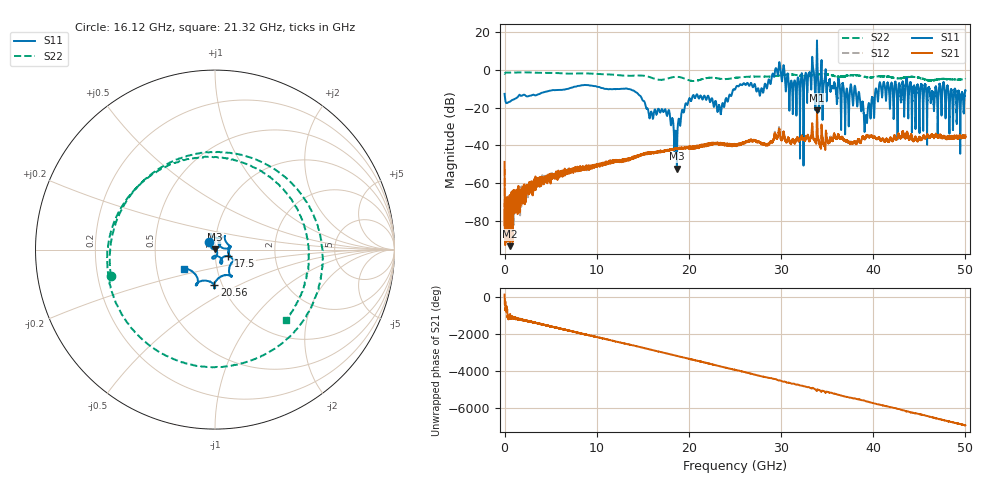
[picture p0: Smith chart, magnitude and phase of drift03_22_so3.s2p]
!Created with skrf (http://scikit-rf.org).
# Hz S RI R 50.0
!freq ReS11 ImS11 ReS21 ImS21 ReS12 ImS12 ReS22 ImS22
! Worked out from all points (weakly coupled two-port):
!   10001 points, 300 kHz to 50 GHz, reference 50 ohm
!   highest |S21| = -21.51 dB at 33.9 GHz (marker M1); lowest = -93.3 dB at 595.3 MHz (marker M2)
!   lowest |S11| = -52.3 dB at 18.7 GHz (marker M3), VSWR 1.00, Z = 50 + j0.241 ohm
!   |S11| at or under -10 dB: start of sweep to 6.947 GHz; 13.31 GHz to 25.05 GHz (11.73 GHz wide, 61.2 % of centre); 38.07 GHz to 40.28 GHz (2.201 GHz wide, 5.62 % of centre) (the widest 3 of 54)
!   |S22| runs from -5.9 to -1.3 dB; largest |S21 - S12| = 0.0078
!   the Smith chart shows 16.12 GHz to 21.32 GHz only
!   S11 on the Smith chart (normalised r, x): 16.12 GHz: 0.94, +0.08; 17.5 GHz: 1.16, -0.08; 20.56 GHz: 0.92, -0.38; 21.32 GHz: 0.69, -0.16
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300000  -0.2102 -0.0966  -0.00321 0.00178  0.00242 -0.000633  -0.7664 -0.1903
5.952964e8  -0.0507 0.1353  -2.15e-05 -1.18e-06  0.000304 -3.53e-05  -0.3004 0.7892
2.335286e9  0.0224 -0.2013  -0.00072 -0.000188  -0.000562 -0.000101  0.0889 -0.8519
3.935276e9  -0.0194 0.2406  0.00131 0.000259  0.00101 -1.39e-05  -0.0305 0.8324
5.470267e9  0.0677 -0.2814  -0.00127 0.000224  -0.00159 0.00037  0.1682 -0.8091
8.33525e9  0.2839 -0.2675  -0.00254 -0.000978  -0.00216 -0.000802  0.601 -0.5359
1.043024e10  -0.0425 0.3322  0.00225 -0.00186  0.00258 -0.00205  -0.0363 0.7701
1.201523e10  0.00662 -0.3088  -0.00267 0.00263  -0.003 0.00263  0.1039 -0.7298
1.372522e10  -0.0255 0.2987  0.0025 -0.00372  0.00251 -0.00364  -0.0668 0.6922
1.61152e10  -0.0316 0.0409  0.00598 0.00228  0.00614 0.00198  -0.5782 -0.1469
1.66702e10  0.0541 0.0759  0.0049 -0.00472  0.00457 -0.00494  -0.3558 0.4198
1.75002e10  0.0733 -0.0353  -0.00584 -0.0043  -0.00573 -0.00408  0.4778 0.3123
1.869519e10  0.000239 0.0024  0.00261 0.00789  0.00245 0.00797  -0.0888 -0.6488
2.056018e10  -0.0032 -0.1974  -0.00825 -0.00478  -0.00755 -0.00461  0.3632 0.3518
2.132017e10  -0.1715 -0.1085  -0.00512 0.00799  -0.00512 0.00827  0.3953 -0.3926
2.500015e10  -0.2964 -0.0481  0.00757 0.00628  0.00733 0.00623  -0.1886 -0.5795
3.051012e10  0.2471 -0.1071  -0.00244 0.0124  -0.00234 0.0125  0.7404 -0.063
3.213011e10  0.2028 0.3684  -0.0004 -0.0143  -0.000875 -0.0149  -0.6892 0.00969
3.33351e10  0.4556 -0.9676  -0.00518 0.0244  -0.00554 0.0235  0.6142 0.3648
3.38951e10  -0.9829 -5.913  0.084 0.00137  0.0773 0.00222  0.6761 -0.3262
4.167005e10  -0.2128 0.2829  -0.0117 -0.00454  -0.0118 -0.00478  -0.6517 -0.0504
5e10  -0.1489 -0.2425  0.00216 -0.0185  0.00117 -0.0162  0.4623 -0.3194
